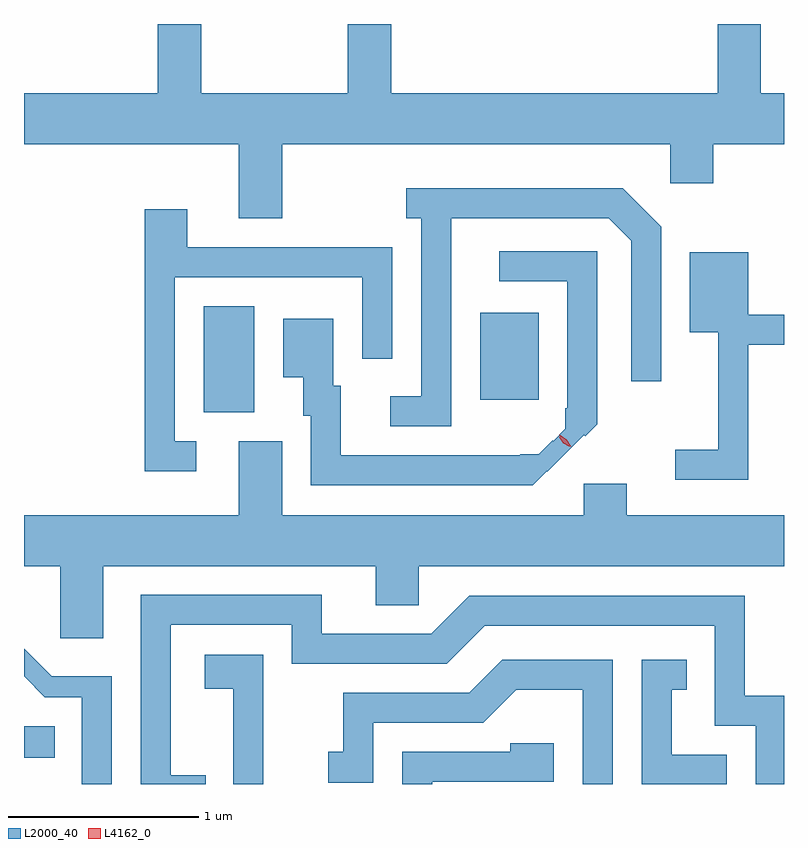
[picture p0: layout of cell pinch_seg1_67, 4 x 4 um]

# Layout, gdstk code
import gdstk
lib = gdstk.Library(unit=1e-6, precision=1e-09)
def R(c, l, rs):  # rectangles x0, y0, x1, y1
    for r in rs: c.add(gdstk.rectangle(r[:2], r[2:], *l))
def P(c, l, *ps):  # polygons
    for p in ps: c.add(gdstk.Polygon(p, *l))
L2000_40 = (2000, 40)
L4162_0 = (4162, 0)

pinch_seg1_67 = lib.new_cell('pinch_seg1_67')
R(pinch_seg1_67, L2000_40, [(210.581,867.486,210.743,867.654), (211.526,869.306,211.794,869.864), (212.981,869.371,213.289,869.829)])
P(pinch_seg1_67, L2000_40, [(211.939,870.716),(213.981,870.716),(213.981,870.511),(214.209,870.511),(214.209,870.716),(214.581,870.716),(214.581,870.984),(214.459,870.984),(214.459,871.349),(214.231,871.349),(214.231,870.984),(212.514,870.984),(212.514,871.349),(212.286,871.349),(212.286,870.984),(211.514,870.984),(211.514,871.349),(211.286,871.349),(211.286,870.984),(210.581,870.984),(210.581,870.716),(211.711,870.716),(211.711,870.326),(211.939,870.326)],
  [(212.829,870.326),(213.659,870.326),(213.776,870.209),(213.776,869.468),(213.934,869.468),(213.934,870.282),(213.732,870.484),(212.593,870.484),(212.593,870.326),(212.671,870.326),(212.671,869.389),(212.508,869.389),(212.508,869.231),(212.829,869.231)],
  [(211.488,869.154),(211.374,869.154),(211.374,870.016),(212.361,870.016),(212.361,869.588),(212.519,869.588),(212.519,870.174),(211.439,870.174),(211.439,870.374),(211.216,870.374),(211.216,868.996),(211.488,868.996)],
  [(213.333,868.995),(213.335,868.992),(213.528,869.185),(213.535,869.178),(213.599,869.242),(213.599,870.154),(213.083,870.154),(213.083,869.996),(213.441,869.996),(213.441,869.326),(213.43,869.326),(213.43,869.218),(213.366,869.154),(213.364,869.157),(213.291,869.084),(213.194,869.084),(213.194,869.079),(212.249,869.079),(212.249,869.444),(212.209,869.444),(212.209,869.799),(211.946,869.799),(211.946,869.491),(212.051,869.491),(212.051,869.286),(212.091,869.286),(212.091,868.921),(213.259,868.921)],
  [(214.394,869.661),(214.581,869.661),(214.581,869.819),(214.394,869.819),(214.394,870.149),(214.086,870.149),(214.086,869.726),(214.236,869.726),(214.236,869.109),(214.008,869.109),(214.008,868.951),(214.394,868.951)],
  [(210.999,868.496),(212.431,868.496),(212.431,868.291),(212.659,868.291),(212.659,868.496),(214.581,868.496),(214.581,868.764),(213.754,868.764),(213.754,868.929),(213.526,868.929),(213.526,868.764),(211.939,868.764),(211.939,869.154),(211.711,869.154),(211.711,868.764),(210.581,868.764),(210.581,868.496),(210.771,868.496),(210.771,868.116),(210.999,868.116)],
  [(211.538,867.394),(211.354,867.394),(211.354,868.186),(211.991,868.186),(211.991,867.981),(212.807,867.981),(213.007,868.181),(214.216,868.181),(214.216,867.656),(214.431,867.656),(214.431,867.349),(214.581,867.349),(214.581,867.814),(214.374,867.814),(214.374,868.339),(212.924,868.339),(212.724,868.139),(212.149,868.139),(212.149,868.344),(211.196,868.344),(211.196,867.349),(211.538,867.349)],
  [(211.044,867.916),(210.823,867.916),(210.823,867.915),(210.726,867.915),(210.581,868.06),(210.581,867.915),(210.69,867.806),(210.886,867.806),(210.886,867.349),(211.044,867.349)],
  [(211.839,868.029),(211.531,868.029),(211.531,867.851),(211.681,867.851),(211.681,867.349),(211.839,867.349)],
  [(214.279,867.504),(213.989,867.504),(213.989,867.846),(214.068,867.846),(214.068,868.004),(213.831,868.004),(213.831,867.349),(214.279,867.349)],
  [(213.679,868.004),(213.099,868.004),(212.924,867.829),(212.261,867.829),(212.261,867.519),(212.183,867.519),(212.183,867.356),(212.419,867.356),(212.419,867.671),(212.997,867.671),(213.172,867.846),(213.521,867.846),(213.521,867.349),(213.679,867.349)],
  [(212.729,867.361),(213.369,867.361),(213.369,867.564),(213.141,867.564),(213.141,867.519),(212.571,867.519),(212.571,867.349),(212.729,867.349)])
P(pinch_seg1_67, L4162_0, [(213.462,869.123),(213.424,869.148),(213.399,869.186),(213.399,869.186),(213.4,869.186),(213.438,869.162),(213.462,869.124),(213.462,869.123)],
  [(213.453,869.123),(213.418,869.142),(213.397,869.175),(213.397,869.176),(213.398,869.176),(213.432,869.156),(213.454,869.123),(213.454,869.123)])

lib.write_gds('pinch_seg1_67.gds')
